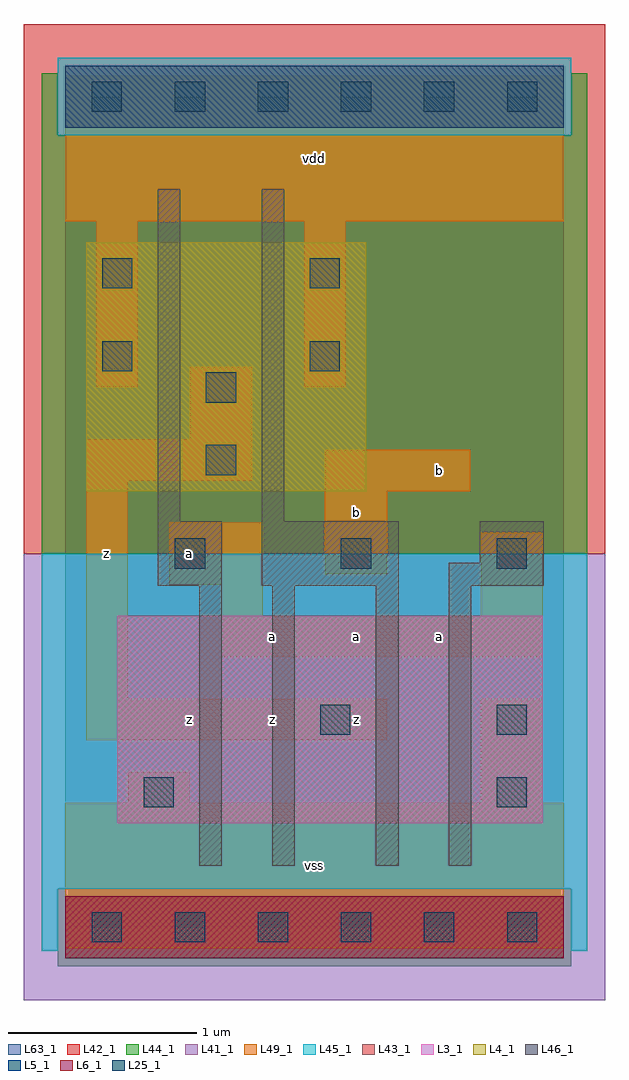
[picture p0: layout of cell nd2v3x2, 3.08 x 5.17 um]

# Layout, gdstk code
import gdstk
lib = gdstk.Library(unit=1e-6, precision=1e-09)
def R(c, l, rs):  # rectangles x0, y0, x1, y1
    for r in rs: c.add(gdstk.rectangle(r[:2], r[2:], *l))
def A(c, l, x, y, w, h, nx, ny, dx, dy):  # array of equal rectangles
    R(c, l, [(x+i*dx, y+j*dy, x+i*dx+w, y+j*dy+h) for i in range(nx) for j in range(ny)])
L3_1 = (3, 1)
L4_1 = (4, 1)
L5_1 = (5, 1)
L6_1 = (6, 1)
L25_1 = (25, 1)
L41_1 = (41, 1)
L42_1 = (42, 1)
L43_1 = (43, 1)
L44_1 = (44, 1)
L45_1 = (45, 1)
L46_1 = (46, 1)
L49_1 = (49, 1)
L63_1 = (63, 1)

nd2v3x2 = lib.new_cell('nd2v3x2')
R(nd2v3x2, L3_1, [(0.275,0.55,2.53,1.65)])
R(nd2v3x2, L4_1, [(0.11,2.31,1.595,3.63)])
R(nd2v3x2, L5_1, [(0,4.235,2.64,4.565)])
R(nd2v3x2, L6_1, [(0,-0.165,2.64,0.165)])
A(nd2v3x2, L25_1, 0.14, -0.08, 0.16, 0.16, 6, 2, 0.44, 4.4)
R(nd2v3x2, L25_1, [(0.415,0.635,0.575,0.795), (2.285,0.635,2.445,0.795), (1.35,1.02,1.51,1.18), (2.285,1.02,2.445,1.18), (0.58,1.9,0.74,2.06), (1.46,1.9,1.62,2.06), (2.285,1.9,2.445,2.06), (0.745,2.395,0.905,2.555), (0.745,2.78,0.905,2.94), (0.195,2.945,0.355,3.105), (1.295,2.945,1.455,3.105), (0.195,3.385,0.355,3.545), (1.295,3.385,1.455,3.545)])
R(nd2v3x2, L41_1, [(-0.22,-0.385,2.86,1.98)])
R(nd2v3x2, L42_1, [(-0.22,1.98,2.86,4.785)])
R(nd2v3x2, L43_1, [(0,-0.165,2.64,0.165), (0.275,0.55,2.53,1.65), (0.11,2.31,1.595,3.63), (0,4.235,2.64,4.565)])
R(nd2v3x2, L44_1, [(-0.04,-0.205,2.68,0.205), (-0.125,1.98,2.765,4.195), (-0.125,4.195,-0.04,4.525), (2.68,4.195,2.765,4.525)])
R(nd2v3x2, L45_1, [(-0.125,-0.125,-0.04,0.205), (2.68,-0.125,2.765,0.205), (-0.125,0.205,2.765,1.98), (-0.04,4.195,2.68,4.605)])
R(nd2v3x2, L46_1, [(0.71,0.325,0.83,1.81), (1.095,0.325,1.215,1.81), (1.645,0.325,1.765,1.81), (2.03,0.325,2.15,1.81), (0.49,1.81,0.83,2.15), (1.04,1.81,1.765,2.15), (2.03,1.81,2.535,1.93), (2.195,1.93,2.535,2.15), (0.49,2.15,0.61,3.91), (1.04,2.15,1.16,3.91)])
R(nd2v3x2, L49_1, [(0,-0.11,2.64,0.66), (0.33,0.66,0.66,0.825), (2.2,0.66,2.53,1.21), (0.11,0.99,1.705,1.21), (0.11,1.21,0.33,2.365), (0.825,1.43,2.53,1.65), (0.825,1.65,1.045,1.815), (2.2,1.65,2.53,2.09), (0.55,1.815,1.045,2.145), (1.375,1.87,1.705,2.31), (1.375,2.31,2.145,2.53), (0.11,2.365,0.99,2.585), (0.66,2.585,0.99,2.97), (0.165,2.86,0.385,3.74), (1.265,2.86,1.485,3.74), (0,3.74,2.64,4.51)])
R(nd2v3x2, L63_1, [(0,0,2.64,4.4)])
nd2v3x2.add(gdstk.Label('z', (0.22,1.98), layer=49, texttype=1))
nd2v3x2.add(gdstk.Label('z', (1.1,1.1), layer=49, texttype=1))
nd2v3x2.add(gdstk.Label('z', (0.66,1.1), layer=49, texttype=1))
nd2v3x2.add(gdstk.Label('a', (0.66,1.98), layer=49, texttype=1))
nd2v3x2.add(gdstk.Label('a', (1.1,1.54), layer=49, texttype=1))
nd2v3x2.add(gdstk.Label('vss', (1.32,0.33), layer=49, texttype=1))
nd2v3x2.add(gdstk.Label('z', (1.54,1.1), layer=49, texttype=1))
nd2v3x2.add(gdstk.Label('a', (1.54,1.54), layer=49, texttype=1))
nd2v3x2.add(gdstk.Label('b', (1.54,2.2), layer=49, texttype=1))
nd2v3x2.add(gdstk.Label('vdd', (1.32,4.07), layer=49, texttype=1))
nd2v3x2.add(gdstk.Label('a', (1.98,1.54), layer=49, texttype=1))
nd2v3x2.add(gdstk.Label('b', (1.98,2.42), layer=49, texttype=1))

lib.write_gds('nd2v3x2.gds')
